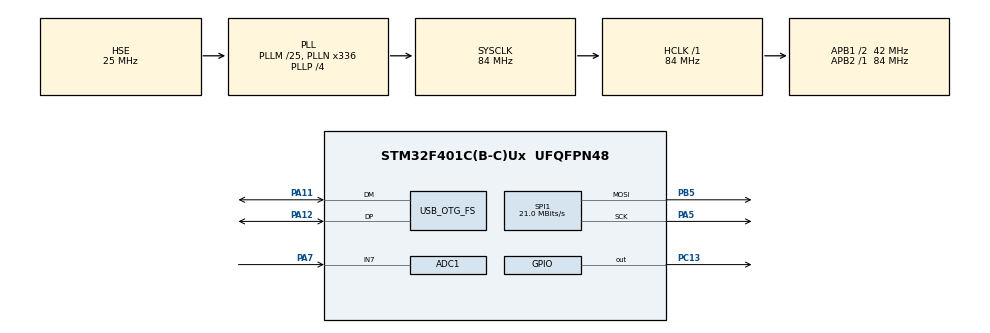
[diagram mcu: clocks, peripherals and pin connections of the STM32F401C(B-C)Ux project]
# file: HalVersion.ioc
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ADC1.Channel-0\#ChannelRegularConversion=ADC_CHANNEL_7
ADC1.DMAContinuousRequests=ENABLE
ADC1.ExternalTrigConv=ADC_EXTERNALTRIGCONV_T3_TRGO
ADC1.NbrOfConversionFlag=1
ADC1.Rank-0\#ChannelRegularConversion=1
ADC1.Resolution=ADC_RESOLUTION_8B
ADC1.SamplingTime-0\#ChannelRegularConversion=ADC_SAMPLETIME_3CYCLES
ADC1.master=1
Dma.ADC1.0.Direction=DMA_PERIPH_TO_MEMORY
Dma.ADC1.0.FIFOMode=DMA_FIFOMODE_DISABLE
Dma.ADC1.0.Instance=DMA2_Stream0
Dma.ADC1.0.MemDataAlignment=DMA_MDATAALIGN_HALFWORD
Dma.ADC1.0.MemInc=DMA_MINC_ENABLE
Dma.ADC1.0.Mode=DMA_CIRCULAR
Dma.ADC1.0.PeriphDataAlignment=DMA_PDATAALIGN_HALFWORD
Dma.ADC1.0.PeriphInc=DMA_PINC_DISABLE
Dma.ADC1.0.Priority=DMA_PRIORITY_VERY_HIGH
Dma.Request0=ADC1
Dma.Request1=SPI1_TX
Dma.SPI1_TX.1.Direction=DMA_MEMORY_TO_PERIPH
Dma.SPI1_TX.1.FIFOMode=DMA_FIFOMODE_DISABLE
Dma.SPI1_TX.1.Instance=DMA2_Stream3
Dma.SPI1_TX.1.MemDataAlignment=DMA_MDATAALIGN_BYTE
Dma.SPI1_TX.1.MemInc=DMA_MINC_ENABLE
Dma.SPI1_TX.1.Mode=DMA_NORMAL
Dma.SPI1_TX.1.PeriphDataAlignment=DMA_PDATAALIGN_BYTE
Dma.SPI1_TX.1.PeriphInc=DMA_PINC_DISABLE
Dma.SPI1_TX.1.Priority=DMA_PRIORITY_HIGH
Mcu.Family=STM32F4
Mcu.Name=STM32F401C(B-C)Ux
Mcu.Package=UFQFPN48
NVIC.DMA2_Stream0_IRQn=true\:0\:0\:false\:false\:true\:false\:true\:true
NVIC.DMA2_Stream3_IRQn=true\:0\:0\:false\:false\:true\:false\:true\:true
NVIC.OTG_FS_IRQn=true\:0\:0\:false\:false\:true\:true\:true\:true
NVIC.PriorityGroup=NVIC_PRIORITYGROUP_4
NVIC.TIM2_IRQn=true\:0\:0\:false\:false\:true\:true\:true\:true
NVIC.TIM4_IRQn=true\:0\:0\:false\:false\:true\:true\:true\:true
PA11.Mode=Device_Only
PA11.Signal=USB_OTG_FS_DM
PA12.Mode=Device_Only
PA12.Signal=USB_OTG_FS_DP
PA5.Mode=TX_Only_Simplex_Unidirect_Master
PA5.Signal=SPI1_SCK
PA7.Signal=ADCx_IN7
PB5.Mode=TX_Only_Simplex_Unidirect_Master
PB5.Signal=SPI1_MOSI
PC13-ANTI_TAMP.Signal=GPIO_Output
PH0\ -\ OSC_IN.Mode=HSE-External-Oscillator
PH0\ -\ OSC_IN.Signal=RCC_OSC_IN
PH1\ -\ OSC_OUT.Mode=HSE-External-Oscillator
PH1\ -\ OSC_OUT.Signal=RCC_OSC_OUT
ProjectManager.HeapSize=0x200
ProjectManager.StackSize=0x400
ProjectManager.TargetToolchain=STM32CubeIDE
RCC.48MHZClocksFreq_Value=48000000
RCC.AHBFreq_Value=84000000
RCC.APB1CLKDivider=RCC_HCLK_DIV2
RCC.APB1Freq_Value=42000000
RCC.APB1TimFreq_Value=84000000
RCC.APB2Freq_Value=84000000
RCC.APB2TimFreq_Value=84000000
RCC.CortexFreq_Value=84000000
RCC.HCLKFreq_Value=84000000
RCC.HSE_VALUE=25000000
RCC.HSI_VALUE=16000000
RCC.LSE_VALUE=32768
RCC.PLLM=25
RCC.PLLN=336
RCC.PLLP=RCC_PLLP_DIV4
RCC.PLLQ=7
RCC.SYSCLKFreq_VALUE=84000000
RCC.SYSCLKSource=RCC_SYSCLKSOURCE_PLLCLK
RCC.VCOOutputFreq_Value=336000000
SH.ADCx_IN7.0=ADC1_IN7,IN7
SPI1.BaudRatePrescaler=SPI_BAUDRATEPRESCALER_4
SPI1.CalculateBaudRate=21.0 MBits/s
SPI1.Direction=SPI_DIRECTION_2LINES
SPI1.Mode=SPI_MODE_MASTER
SPI1.VirtualType=VM_MASTER
TIM2.AutoReloadPreload=TIM_AUTORELOAD_PRELOAD_ENABLE
TIM2.Period=25000
TIM2.Prescaler=28-1
TIM3.Period=1905
TIM3.TIM_MasterOutputTrigger=TIM_TRGO_UPDATE
TIM4.Period=1000
TIM4.Prescaler=84-1
USB_DEVICE.CLASS_NAME_FS=CDC
USB_DEVICE.VirtualMode=Cdc
USB_DEVICE.VirtualModeFS=Cdc_FS
USB_OTG_FS.VirtualMode=Device_Only
VP_TIM2_VS_ClockSourceINT.Mode=Internal
VP_TIM3_VS_ClockSourceINT.Mode=Internal
VP_TIM4_VS_ClockSourceINT.Mode=Internal
VP_USB_DEVICE_VS_USB_DEVICE_CDC_FS.Mode=CDC_FS
board=custom

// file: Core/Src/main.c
/* USER CODE BEGIN Header */
/**
  ******************************************************************************
  * @file           : main.c
  * @brief          : Main program body
  ******************************************************************************
  * @attention
  *
  * Copyright (c) 2023 STMicroelectronics.
  * All rights reserved.
  *
  * This software is licensed under terms that can be found in the LICENSE file
  * in the root directory of this software component.
  * If no LICENSE file comes with this software, it is provided AS-IS.
  *
  ******************************************************************************
  */
/* USER CODE END Header */
#include "main.h"
#include "adc.h"
#include "dma.h"
#include "spi.h"
#include "tim.h"
#include "usb_device.h"
#include "gpio.h"

/* USER CODE BEGIN Includes */
#include "animations.h"
#include "communication.h"
#include "activity.h"
#include "fft.h"
/* USER CODE END Includes */

void SystemClock_Config(void);

/* USER CODE BEGIN 0 */
static void turnOnFPU(void)
{
	SCB->CPACR |= ((3 << 10 * 2)|(3 << 11 * 2));
}
uint32_t ledCounter;
uint32_t animationSpeedCnt;
LedStrip_t* ledStrip;
Animation animation;
Communication_t* usb;

/* USER CODE END 0 */

int main(void)
{

  /* MCU Configuration--------------------------------------------------------*/

  /* Reset of all peripherals, Initializes the Flash interface and the Systick. */
  HAL_Init();

  /* Configure the system clock */
  SystemClock_Config();

  /* USER CODE BEGIN SysInit */
  turnOnFPU();

  /* USER CODE END SysInit */

  /* Initialize all configured peripherals */
  MX_GPIO_Init();
  MX_DMA_Init();
  MX_ADC1_Init();
  MX_SPI1_Init();
  MX_TIM2_Init();
  MX_TIM3_Init();
  MX_TIM4_Init();
  MX_USB_DEVICE_Init();
  /* USER CODE BEGIN 2 */
  ledCounter = 0;
  animationSpeedCnt = 0;
  ledStrip = LedStrip_initObject();
  RemoveSector(GetDriver(ledStrip), 0);
  SetSector(GetDriver(ledStrip), 0, 0, 4);
  SetSector(GetDriver(ledStrip), 1, 6, WS2812B_DIODES - 1);
  SetAnimationSpeed(GetAnimations(ledStrip), 0, 5);
  SetAnimationSpeed(GetAnimations(ledStrip), 1, 40);
  SetAnimation(ledStrip, ROLLING_SOUND_REVERSED, 1);

  usb = Communication_InitObject();

  HAL_TIM_Base_Start_IT(&htim2);
  HAL_TIM_Base_Start(&htim3);                 // tim3 triggers adc
  HAL_TIM_Base_Start_IT(&htim4);
  InitFFT();

  USBMsg_t msg;
  Activity_e action;

  /* USER CODE END 2 */

  /* Infinite loop */
  while (1)
  {

    /* USER CODE BEGIN 3 */
    // HAL_Delay(1000);
    // SendMsgUSB(usb, "jou\r\n");
    if (CheckReceiveUSB(usb))
    {
      msg = DecodeMsg(usb);
      if (msg.action < USB_PROPER_ACTIONS)
      {
        action = ActivateAction(ledStrip, &msg);
      }
    }
    if (GetFFTState() == SAMPLING_DONE)
    {
      CalulateFFT();
      StartConversion();
    }

  }
  /* USER CODE END 3 */
}

void SystemClock_Config(void)
{
  RCC_OscInitTypeDef RCC_OscInitStruct = {0};
  RCC_ClkInitTypeDef RCC_ClkInitStruct = {0};

  /** Configure the main internal regulator output voltage
  */
  __HAL_RCC_PWR_CLK_ENABLE();
  __HAL_PWR_VOLTAGESCALING_CONFIG(PWR_REGULATOR_VOLTAGE_SCALE2);

  /** Initializes the RCC Oscillators according to the specified parameters
  * in the RCC_OscInitTypeDef structure.
  */
  RCC_OscInitStruct.OscillatorType = RCC_OSCILLATORTYPE_HSE;
  RCC_OscInitStruct.HSEState = RCC_HSE_ON;
  RCC_OscInitStruct.PLL.PLLState = RCC_PLL_ON;
  RCC_OscInitStruct.PLL.PLLSource = RCC_PLLSOURCE_HSE;
  RCC_OscInitStruct.PLL.PLLM = 25;
  RCC_OscInitStruct.PLL.PLLN = 336;
  RCC_OscInitStruct.PLL.PLLP = RCC_PLLP_DIV4;
  RCC_OscInitStruct.PLL.PLLQ = 7;
  if (HAL_RCC_OscConfig(&RCC_OscInitStruct) != HAL_OK)
  {
    Error_Handler();
  }

  /** Initializes the CPU, AHB and APB buses clocks
  */
  RCC_ClkInitStruct.ClockType = RCC_CLOCKTYPE_HCLK|RCC_CLOCKTYPE_SYSCLK
                              |RCC_CLOCKTYPE_PCLK1|RCC_CLOCKTYPE_PCLK2;
  RCC_ClkInitStruct.SYSCLKSource = RCC_SYSCLKSOURCE_PLLCLK;
  RCC_ClkInitStruct.AHBCLKDivider = RCC_SYSCLK_DIV1;
  RCC_ClkInitStruct.APB1CLKDivider = RCC_HCLK_DIV2;
  RCC_ClkInitStruct.APB2CLKDivider = RCC_HCLK_DIV1;

  if (HAL_RCC_ClockConfig(&RCC_ClkInitStruct, FLASH_LATENCY_2) != HAL_OK)
  {
    Error_Handler();
  }
}

/* USER CODE BEGIN 4 */
void HAL_TIM_PeriodElapsedCallback(TIM_HandleTypeDef* htim)
{
	if (htim->Instance == TIM2)
	{
		if (ledCounter >= 120)
		{
			HAL_GPIO_TogglePin(GPIOC, GPIO_PIN_13);
			ledCounter = 0;
		}
    //refresh diodes with 120 Hz
    SendDeviceBuffer(GetDriver(ledStrip));
		ledCounter++;
	}
	else if (htim->Instance == TIM4)
	{
    for (uint8_t i = 0; i < MAX_SECTORS; i++)
    {
      if (GetSectors(GetDriver(ledStrip))[i].isUsed)
      {
        if ((animationSpeedCnt % GetAnimationSpeed(GetAnimations(ledStrip), i)) == 0)
        {
          animation = GetAnimationFunPtr(GetAnimations(ledStrip), i);
          animation(GetDriver(ledStrip), i);
        }
      }
    }

    if (animationSpeedCnt >= 300)
    {
      animationSpeedCnt = 0;
    }
		animationSpeedCnt++;
	}
}

/* USER CODE END 4 */

void Error_Handler(void)
{
  __disable_irq();
  while (1)
  {
  }
}
